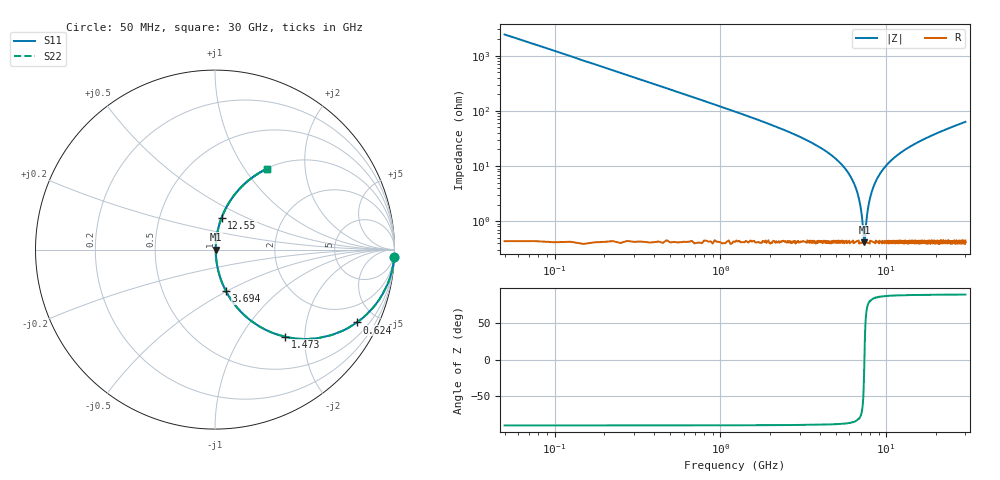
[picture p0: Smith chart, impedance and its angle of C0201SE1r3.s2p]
!	AVX Thin Film Operation 	Date: April 2014
!	Description: Accu-P® Series, Thin Film  SMD RF Capacitor
!	Part Number: 02015J1R3PBSTR
# MHZ S MA R 50
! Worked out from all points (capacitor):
!   1201 points, 50 MHz to 30 GHz, reference 50 ohm
!   read as one part in series: C = 1.3 pF near 199.8 MHz
!   lowest |Z| = 411 mohm at 7.388 GHz (marker M1)
!   series resonance near 7.383 GHz, so ESL is about 360 pH
!   S11 on the Smith chart (normalised r, x): 50 MHz: 1, -49; 624 MHz: 1.01, -3.90; 1.473 GHz: 1.01, -1.60; 3.694 GHz: 1.01, -0.50; 12.55 GHz: 1.01, +0.37; 30 GHz: 1.01, +1.27
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50  0.999 -2.3  0.041 87.7  0.041 87.7  0.999 -2.3
299.583  0.971 -13.8  0.238 76.2  0.238 76.2  0.971 -13.8
624.042  0.889 -27.1  0.456 62.7  0.456 62.7  0.889 -27.1
1472.625  0.622 -51.2  0.78 38.5  0.78 38.5  0.622 -51.2
2396.083  0.414 -65.0  0.906 24.5  0.906 24.5  0.414 -65.0
3693.917  0.24 -75.1  0.967 13.9  0.967 13.9  0.24 -75.1
5041.667  0.128 -80.8  0.988 7.4  0.988 7.4  0.128 -80.8
5965.125  0.071 -82.6  0.993 4.1  0.993 4.1  0.071 -82.6
6564.125  0.039 -81.6  0.995 2.2  0.995 2.2  0.039 -81.6
6938.5  0.021 -77.3  0.996 1.2  0.996 1.2  0.021 -77.3
7287.917  0.005963 -45.3  0.996 0.2  0.996 0.2  0.005963 -45.3
7387.75  0.004179 3.2  0.996 -0.0  0.996 -0.0  0.004179 3.2
7487.583  0.006261 47.9  0.996 -0.3  0.996 -0.3  0.006261 47.9
7812.042  0.019 76.3  0.996 -1.1  0.996 -1.1  0.019 76.3
8261.292  0.037 81.5  0.995 -2.1  0.995 -2.1  0.037 81.5
8960.125  0.064 82.6  0.994 -3.7  0.994 -3.7  0.064 82.6
10058.29  0.103 81.8  0.991 -5.9  0.991 -5.9  0.103 81.8
12554.12  0.181 78.3  0.979 -10.4  0.979 -10.4  0.181 78.3
15025  0.247 74.8  0.965 -14.3  0.965 -14.3  0.247 74.8
20016.67  0.361 68.2  0.929 -21.1  0.929 -21.1  0.361 68.2
25033.29  0.455 62.5  0.887 -27.1  0.887 -27.1  0.455 62.5
30000  0.533 57.4  0.842 -32.2  0.842 -32.2  0.533 57.4
